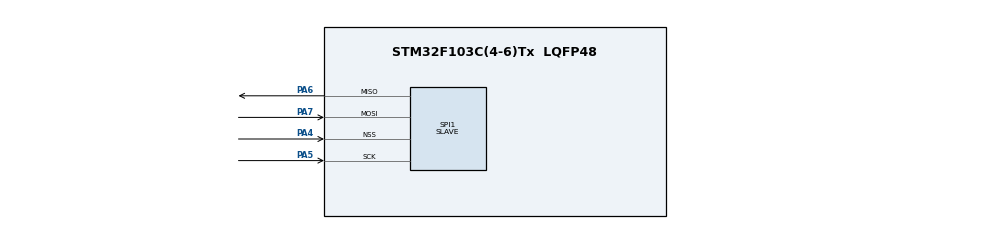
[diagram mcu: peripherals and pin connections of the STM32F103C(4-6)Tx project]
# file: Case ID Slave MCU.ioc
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Mcu.Family=STM32F1
Mcu.Name=STM32F103C(4-6)Tx
Mcu.Package=LQFP48
NVIC.PriorityGroup=NVIC_PRIORITYGROUP_4
PA4.Mode=NSS_Signal_Hard_Input
PA4.Signal=SPI1_NSS
PA5.Mode=Full_Duplex_Slave
PA5.Signal=SPI1_SCK
PA6.Mode=Full_Duplex_Slave
PA6.Signal=SPI1_MISO
PA7.Mode=Full_Duplex_Slave
PA7.Signal=SPI1_MOSI
ProjectManager.HeapSize=0x200
ProjectManager.StackSize=0x400
ProjectManager.TargetToolchain=STM32CubeIDE
RCC.APB1Freq_Value=8000000
RCC.APB2Freq_Value=8000000
SPI1.Direction=SPI_DIRECTION_2LINES
SPI1.Mode=SPI_MODE_SLAVE
SPI1.VirtualNSS=VM_NSSHARD
SPI1.VirtualType=VM_SLAVE
VP_SYS_VS_ND.Mode=No_Debug
board=custom

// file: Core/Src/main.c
/* USER CODE BEGIN Header */
/**
  ******************************************************************************
  * @file           : main.c
  * @brief          : Main program body
  ******************************************************************************
  * @attention
  *
  * Copyright (c) 2025 STMicroelectronics.
  * All rights reserved.
  *
  * This software is licensed under terms that can be found in the LICENSE file
  * in the root directory of this software component.
  * If no LICENSE file comes with this software, it is provided AS-IS.
  *
  ******************************************************************************
  */
/* USER CODE END Header */
#include "main.h"

/* USER CODE BEGIN Includes */
#include <stdio.h>
#include <string.h>
#include <math.h>
#include <stdbool.h>
/* USER CODE END Includes */

/* USER CODE BEGIN PTD */
typedef struct reading {
	uint16_t ID;
	float Voltage_Level;
	int Wheel_Speed;
}reading;
/* USER CODE END PTD */

SPI_HandleTypeDef hspi1;

/* USER CODE BEGIN PV */

uint16_t received_id;

// SPI buffers
uint8_t send_receive_buffer[8];
uint8_t SPI_Junk[8];

// Encoded Readings
uint16_t Voltage_Level;
uint16_t Wheel_Speed;

/* USER CODE END PV */

void SystemClock_Config(void);
static void MX_GPIO_Init(void);
static void MX_SPI1_Init(void);

int main(void)
{

  /* USER CODE BEGIN 1 */
	// Case IDs declarations
	reading Reading_1 = {0x1001, 12.3, 200};
	reading Reading_2 = {0x1002, 14.2, 150};
	reading Reading_3 = {0x1003, 13.8, 100};
	reading Reading_4 = {0x1004, 11.5, 220};
	reading Reading_5 = {0x1005, 10.9, 280};

	// Array of Structs for Case IDs
	reading Readings[5] = {Reading_1, Reading_2, Reading_3, Reading_4, Reading_5};
  /* USER CODE END 1 */

  /* MCU Configuration--------------------------------------------------------*/

  /* Reset of all peripherals, Initializes the Flash interface and the Systick. */
  HAL_Init();

  /* Configure the system clock */
  SystemClock_Config();

  /* Initialize all configured peripherals */
  MX_GPIO_Init();
  MX_SPI1_Init();
  /* USER CODE BEGIN 2 */
  	  // NSS Hardware Signal configuration
  	  hspi1.Init.NSS = SPI_NSS_HARD_INPUT;
      // #Page: 450 Chapter 35 HAL SPI Generic Driver
      HAL_SPI_Init(&hspi1);
  /* USER CODE END 2 */

  /* Infinite loop */
  /* USER CODE BEGIN WHILE */
  while (1)
  {
	  // Looping SPI for The three transmits
	  // #Page: 452 Chapter 35 HAL SPI Generic Driver
	  HAL_SPI_TransmitReceive(&hspi1, send_receive_buffer, send_receive_buffer, 8, HAL_MAX_DELAY);
	  // Decoding the Case ID
	  received_id = (send_receive_buffer[0] << 8) | send_receive_buffer[1];
	  bool matching = false;
	  // looping to find matching Case ID
	  for(int i = 0; i < 5; i++) {
	  	  if(received_id == Readings[i].ID) {
	  		// Encoding the Data to 60 Bit message
	  		Voltage_Level = (uint16_t)(((Readings[i].Voltage_Level) / 24.0) * 4095);
	  		Wheel_Speed = (uint16_t)(((float)Readings[i].Wheel_Speed / 300.0) * 4095);
	  		send_receive_buffer[4] |= (Voltage_Level >> 8) & 0x0F;
	  		send_receive_buffer[5]  = Voltage_Level & 0xFF;
	  		send_receive_buffer[6]  = (Wheel_Speed >> 4) & 0xFF;
	  		send_receive_buffer[7]  = (Wheel_Speed & 0x0F) << 4;
	  		matching = true;
	  		break;
	  	  }
	  }
	  if(!matching) {
	  		memset(send_receive_buffer, 0, sizeof(send_receive_buffer));
	  	}

    /* USER CODE END WHILE */

  }
}

void SystemClock_Config(void)
{
  RCC_OscInitTypeDef RCC_OscInitStruct = {0};
  RCC_ClkInitTypeDef RCC_ClkInitStruct = {0};

  /** Initializes the RCC Oscillators according to the specified parameters
  * in the RCC_OscInitTypeDef structure.
  */
  RCC_OscInitStruct.OscillatorType = RCC_OSCILLATORTYPE_HSI;
  RCC_OscInitStruct.HSIState = RCC_HSI_ON;
  RCC_OscInitStruct.HSICalibrationValue = RCC_HSICALIBRATION_DEFAULT;
  RCC_OscInitStruct.PLL.PLLState = RCC_PLL_NONE;
  if (HAL_RCC_OscConfig(&RCC_OscInitStruct) != HAL_OK)
  {
    Error_Handler();
  }

  /** Initializes the CPU, AHB and APB buses clocks
  */
  RCC_ClkInitStruct.ClockType = RCC_CLOCKTYPE_HCLK|RCC_CLOCKTYPE_SYSCLK
                              |RCC_CLOCKTYPE_PCLK1|RCC_CLOCKTYPE_PCLK2;
  RCC_ClkInitStruct.SYSCLKSource = RCC_SYSCLKSOURCE_HSI;
  RCC_ClkInitStruct.AHBCLKDivider = RCC_SYSCLK_DIV1;
  RCC_ClkInitStruct.APB1CLKDivider = RCC_HCLK_DIV1;
  RCC_ClkInitStruct.APB2CLKDivider = RCC_HCLK_DIV1;

  if (HAL_RCC_ClockConfig(&RCC_ClkInitStruct, FLASH_LATENCY_0) != HAL_OK)
  {
    Error_Handler();
  }
}

static void MX_SPI1_Init(void)
{

  /* SPI1 parameter configuration*/
  hspi1.Instance = SPI1;
  hspi1.Init.Mode = SPI_MODE_SLAVE;
  hspi1.Init.Direction = SPI_DIRECTION_2LINES;
  hspi1.Init.DataSize = SPI_DATASIZE_8BIT;
  hspi1.Init.CLKPolarity = SPI_POLARITY_LOW;
  hspi1.Init.CLKPhase = SPI_PHASE_1EDGE;
  hspi1.Init.NSS = SPI_NSS_HARD_INPUT;
  hspi1.Init.FirstBit = SPI_FIRSTBIT_MSB;
  hspi1.Init.TIMode = SPI_TIMODE_DISABLE;
  hspi1.Init.CRCCalculation = SPI_CRCCALCULATION_DISABLE;
  hspi1.Init.CRCPolynomial = 10;
  if (HAL_SPI_Init(&hspi1) != HAL_OK)
  {
    Error_Handler();
  }

}

static void MX_GPIO_Init(void)
{

  /* GPIO Ports Clock Enable */
  __HAL_RCC_GPIOA_CLK_ENABLE();

}

void Error_Handler(void)
{
  __disable_irq();
  while (1)
  {
  }
}
